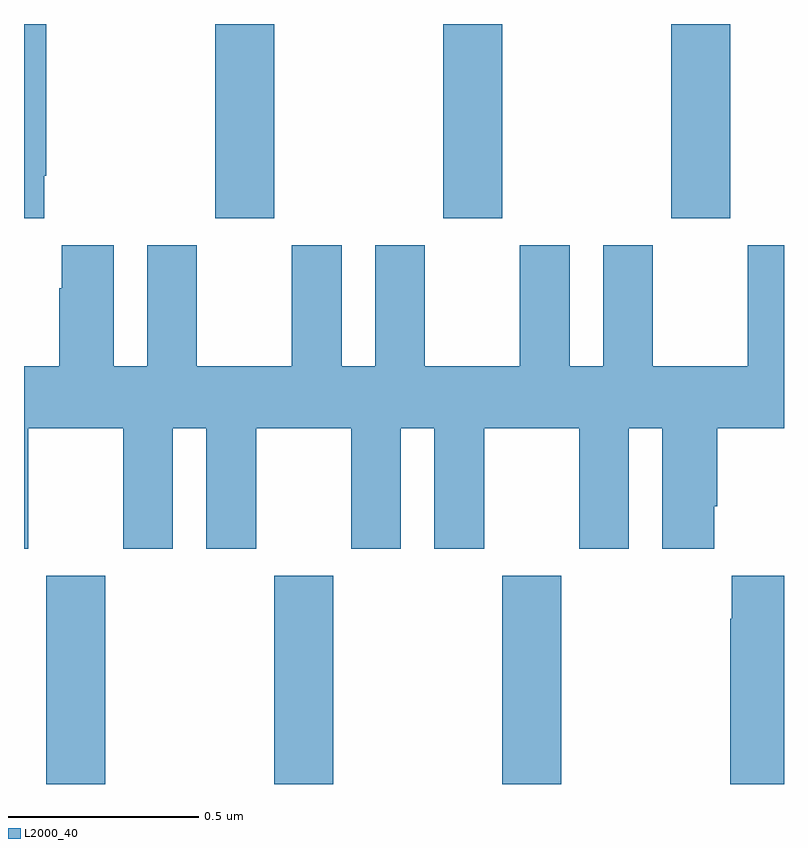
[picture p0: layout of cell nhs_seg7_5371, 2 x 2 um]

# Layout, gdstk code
import gdstk
lib = gdstk.Library(unit=1e-6, precision=1e-09)
def R(c, l, rs):  # rectangles x0, y0, x1, y1
    for r in rs: c.add(gdstk.rectangle(r[:2], r[2:], *l))
def A(c, l, x, y, w, h, nx, ny, dx, dy):  # array of equal rectangles
    R(c, l, [(x+i*dx, y+j*dy, x+i*dx+w, y+j*dy+h) for i in range(nx) for j in range(ny)])
def P(c, l, *ps):  # polygons
    for p in ps: c.add(gdstk.Polygon(p, *l))
L2000_40 = (2000, 40)

nhs_seg7_5371 = lib.new_cell('nhs_seg7_5371')
A(nhs_seg7_5371, L2000_40, 185.059, 1013, 0.155, 0.548, 3, 1, 0.6, 0)
A(nhs_seg7_5371, L2000_40, 185.503, 1014.489, 0.155, 0.511, 3, 1, 0.6, 0)
P(nhs_seg7_5371, L2000_40, [(185.053,1014.601),(185.058,1014.601),(185.058,1015),(185,1015),(185,1014.489),(185.053,1014.489)],
  [(185.011,1013.936),(185.261,1013.936),(185.261,1013.619),(185.392,1013.619),(185.392,1013.936),(185.48,1013.936),(185.48,1013.619),(185.611,1013.619),(185.611,1013.936),(185.861,1013.936),(185.861,1013.619),(185.992,1013.619),(185.992,1013.936),(186.08,1013.936),(186.08,1013.619),(186.211,1013.619),(186.211,1013.936),(186.461,1013.936),(186.461,1013.619),(186.592,1013.619),(186.592,1013.936),(186.68,1013.936),(186.68,1013.619),(186.817,1013.619),(186.817,1013.731),(186.824,1013.731),(186.824,1013.936),(187,1013.936),(187,1014.418),(186.905,1014.418),(186.905,1014.1),(186.655,1014.1),(186.655,1014.418),(186.524,1014.418),(186.524,1014.1),(186.436,1014.1),(186.436,1014.418),(186.305,1014.418),(186.305,1014.1),(186.055,1014.1),(186.055,1014.418),(185.924,1014.418),(185.924,1014.1),(185.836,1014.1),(185.836,1014.418),(185.705,1014.418),(185.705,1014.1),(185.455,1014.1),(185.455,1014.418),(185.324,1014.418),(185.324,1014.1),(185.236,1014.1),(185.236,1014.418),(185.099,1014.418),(185.099,1014.305),(185.093,1014.305),(185.093,1014.1),(185,1014.1),(185,1013.619),(185.011,1013.619)],
  [(187,1013.548),(186.863,1013.548),(186.863,1013.435),(186.859,1013.435),(186.859,1013),(187,1013)])

lib.write_gds('nhs_seg7_5371.gds')
